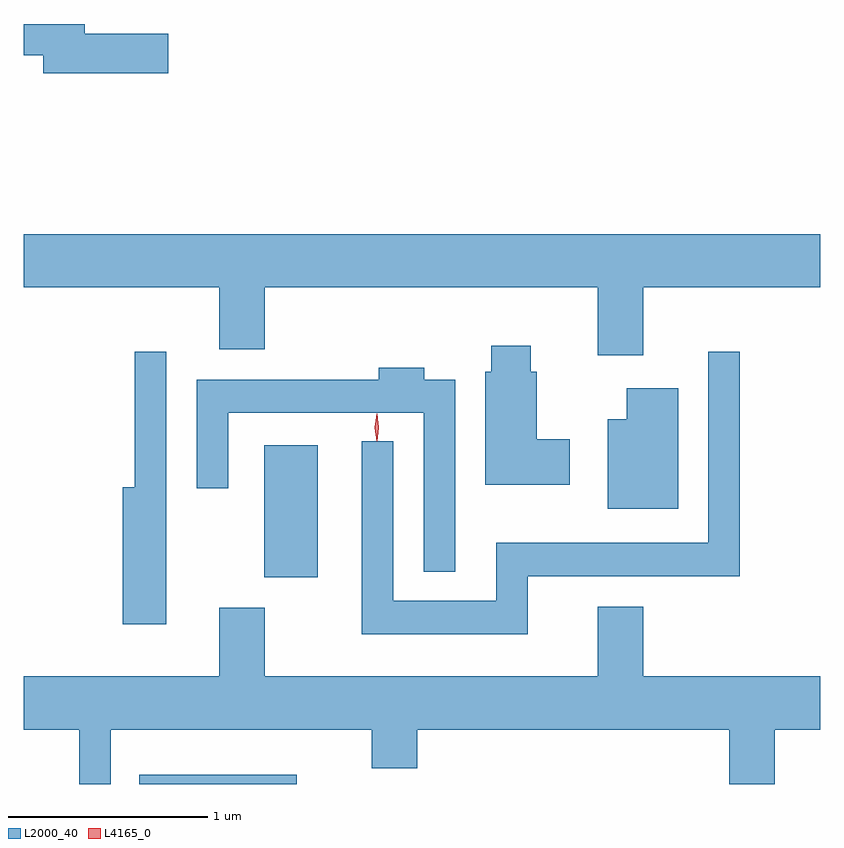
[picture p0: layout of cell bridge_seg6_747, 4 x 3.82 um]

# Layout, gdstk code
import gdstk
lib = gdstk.Library(unit=1e-6, precision=1e-09)
def R(c, l, rs):  # rectangles x0, y0, x1, y1
    for r in rs: c.add(gdstk.rectangle(r[:2], r[2:], *l))
def P(c, l, *ps):  # polygons
    for p in ps: c.add(gdstk.Polygon(p, *l))
L2000_40 = (2000, 40)
L4165_0 = (4165, 0)

bridge_seg6_747 = lib.new_cell('bridge_seg6_747')
R(bridge_seg6_747, L2000_40, [(485.848,1585.283,486.639,1585.329), (486.476,1586.321,486.744,1586.984)])
P(bridge_seg6_747, L2000_40, [(485.994,1589.049),(485.574,1589.049),(485.574,1589.099),(485.268,1589.099),(485.268,1588.941),(485.366,1588.941),(485.366,1588.851),(485.994,1588.851)],
  [(488.379,1587.776),(489.268,1587.776),(489.268,1588.044),(485.268,1588.044),(485.268,1587.776),(486.251,1587.776),(486.251,1587.466),(486.479,1587.466),(486.479,1587.776),(488.151,1587.776),(488.151,1587.436),(488.379,1587.436)],
  [(488.009,1587.014),(487.844,1587.014),(487.844,1587.354),(487.814,1587.354),(487.814,1587.484),(487.616,1587.484),(487.616,1587.354),(487.586,1587.354),(487.586,1586.786),(488.009,1586.786)],
  [(485.984,1587.453),(485.826,1587.453),(485.826,1586.774),(485.766,1586.774),(485.766,1586.086),(485.984,1586.086)],
  [(487.799,1586.326),(488.864,1586.326),(488.864,1587.453),(488.706,1587.453),(488.706,1586.494),(487.641,1586.494),(487.641,1586.204),(487.124,1586.204),(487.124,1587.003),(486.966,1587.003),(486.966,1586.036),(487.799,1586.036)],
  [(487.434,1587.314),(487.279,1587.314),(487.279,1587.374),(487.051,1587.374),(487.051,1587.314),(486.136,1587.314),(486.136,1586.768),(486.294,1586.768),(486.294,1587.146),(487.276,1587.146),(487.276,1586.348),(487.434,1586.348)],
  [(488.554,1587.269),(488.296,1587.269),(488.296,1587.114),(488.201,1587.114),(488.201,1586.666),(488.554,1586.666)],
  [(485.704,1585.556),(487.016,1585.556),(487.016,1585.361),(487.244,1585.361),(487.244,1585.556),(488.811,1585.556),(488.811,1585.283),(489.039,1585.283),(489.039,1585.556),(489.268,1585.556),(489.268,1585.824),(488.379,1585.824),(488.379,1586.174),(488.151,1586.174),(488.151,1585.824),(486.479,1585.824),(486.479,1586.169),(486.251,1586.169),(486.251,1585.824),(485.268,1585.824),(485.268,1585.556),(485.546,1585.556),(485.546,1585.283),(485.704,1585.283)])
P(bridge_seg6_747, L4165_0, [(487.042,1587.003),(487.042,1587.004),(487.032,1587.073),(487.042,1587.142),(487.042,1587.143),(487.043,1587.142),(487.052,1587.073),(487.043,1587.004)],
  [(487.042,1587.007),(487.042,1587.007),(487.032,1587.074),(487.042,1587.14),(487.042,1587.14),(487.043,1587.14),(487.052,1587.074),(487.043,1587.007)])

lib.write_gds('bridge_seg6_747.gds')
